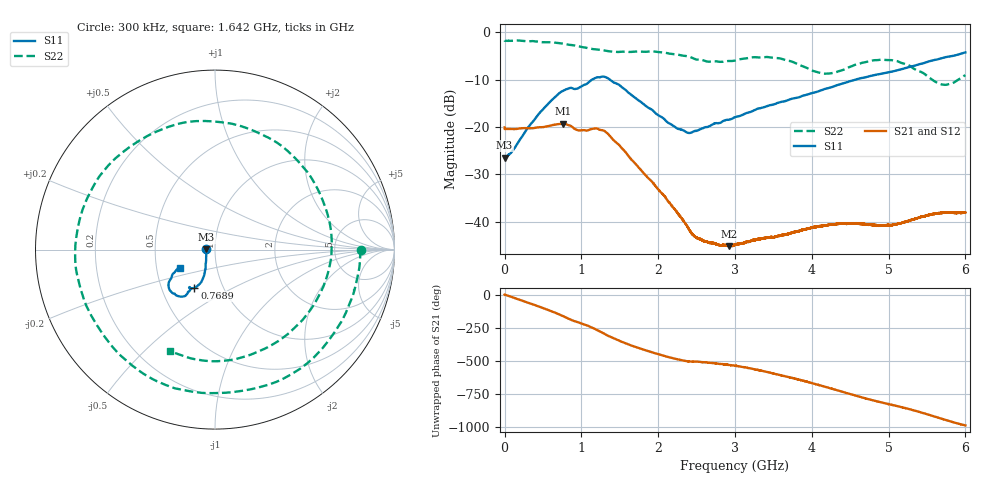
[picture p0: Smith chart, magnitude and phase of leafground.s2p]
!  8/6/2020  01:32:41
! Ref Plane: 0.000 mm
# MHZ S MA R  50
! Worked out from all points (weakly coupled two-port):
!   10001 points, 300 kHz to 6 GHz, reference 50 ohm
!   highest |S21| = -19.32 dB at 762.9 MHz (marker M1); lowest = -45.1 dB at 2.921 GHz (marker M2)
!   lowest |S11| = -26.4 dB at 300 kHz (marker M3), VSWR 1.10, Z = 45.5 + j0.12 ohm
!   |S11| at or under -10 dB: start of sweep to 1.142 GHz; 1.368 GHz to 4.576 GHz (3.207 GHz wide, 108 % of centre)
!   |S22| runs from -11.1 to -1.8 dB; largest |S21 - S12| = 0.0024
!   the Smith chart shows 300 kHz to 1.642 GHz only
!   S11 on the Smith chart (normalised r, x): 300 kHz: 0.91, +0.00; 768.9 MHz: 0.73, -0.33; 1.642 GHz: 0.66, -0.14
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0.3  0.04765 178.4  0.09888 -1.1  0.09656 -0.8  0.8156 -0.3
341.6829  0.1078 -119.1  0.09689 -69.2  0.09698 -69.2  0.8016 -100.9
566.6717  0.1757 -112.7  0.1021 -115.7  0.1023 -115.8  0.7802 -164.2
762.8619  0.2412 -117.9  0.1081 -163.5  0.1081 -163.5  0.756 140.5
768.8616  0.2425 -118.3  0.1081 -165.1  0.1081 -165.1  0.7542 138.8
1000.45  0.2677 -121.5  0.09224 142.3  0.09224 142.4  0.697 72.7
1275.836  0.3389 -135.3  0.09228 71.5  0.09228 71.5  0.6444 -9.4
1642.418  0.2196 -152.4  0.0462 -23.1  0.04631 -23.1  0.618 -114.0
2000.6  0.1332 -140.2  0.02198 -89.7  0.02198 -89.7  0.6163 153.2
2257.987  0.09569 -117.9  0.01223 -129.0  0.01226 -129.2  0.5787 86.8
2530.974  0.09321 -81.1  0.006656 -146.8  0.006608 -146.9  0.512 9.5
2920.954  0.1192 -51.0  0.005541 -170.6  0.005544 -170.7  0.4955 -109.8
3000.15  0.1267 -46.1  0.005671 -176.4  0.00575 -176.3  0.5005 -133.1
3239.538  0.1487 -33.6  0.006435 158.6  0.006399 158.6  0.5429 164.2
3524.524  0.1751 -22.3  0.007025 121.4  0.006964 121.4  0.5336 96.7
4000.3  0.2272 -4.4  0.0087 52.6  0.008733 52.7  0.3935 -29.7
4219.889  0.2578 3.0  0.009301 16.6  0.009266 17.1  0.3657 -104.8
4484.476  0.3014 9.2  0.009628 -27.4  0.009591 -27.6  0.4261 171.9
5000.45  0.377 18.3  0.009287 -106.4  0.009221 -106.2  0.5062 51.7
5249.438  0.4241 22.9  0.0102 -140.8  0.01017 -140.7  0.4533 -2.4
5506.825  0.4854 26.2  0.01173 176.7  0.01173 176.8  0.342 -71.2
6000  0.6102 28.4  0.01251 93.5  0.01251 93.5  0.3519 116.2
